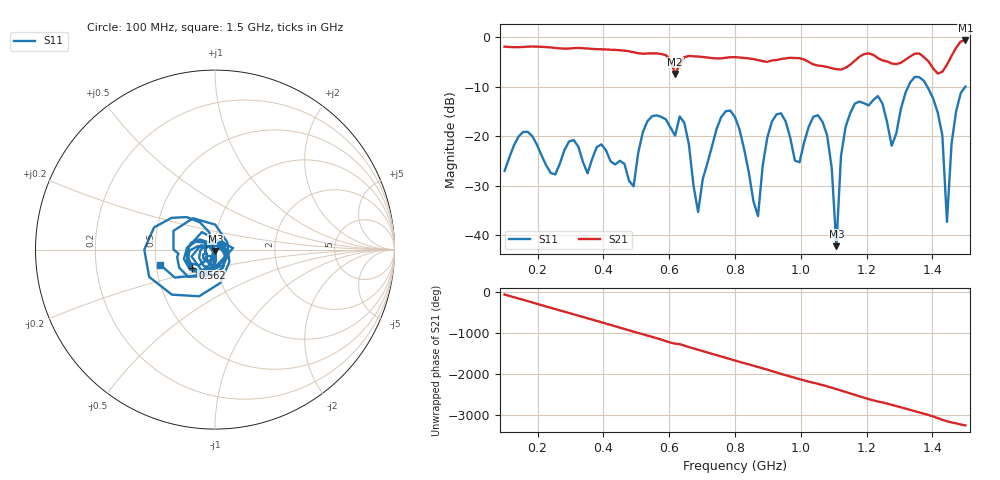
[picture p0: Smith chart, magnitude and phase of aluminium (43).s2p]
! NanoVNA-App
! Date: 2025-09-25 14:55:36
! Start: 100MHz Stop: 1,5GHz Points: 101
! S-Parameter data: F S11 S21 S12 S22
# Hz S RI R 50
!  Frequency  S11_Real  S11_Imag  S21_Real  S21_Imag  S12_Real  S12_Imag  S22_Real  S22_Imag
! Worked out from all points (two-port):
!   101 points, 100 MHz to 1.5 GHz, reference 50 ohm
!   highest |S21| = -0.67 dB at 1.5 GHz (marker M1); lowest = -7.4 dB at 618 MHz (marker M2)
!   |S21| within 3 dB of the highest: start of sweep to 590.4 MHz; 1.186 GHz to 1.222 GHz (36.59 MHz wide, 3.04 % of centre) (the widest 2 of 4)
!   lowest |S11| = -42.2 dB at 1.108 GHz (marker M3), VSWR 1.02, Z = 50.2 - j0.756 ohm
!   |S11| at or under -10 dB: start of sweep to 1.326 GHz; 1.384 GHz to 1.5 GHz (115.9 MHz wide, 8.04 % of centre)
!   S12 and S22 are empty: the file has one direction only
!   S11 on the Smith chart (normalised r, x): 100 MHz: 1.07, +0.06; 562 MHz: 0.76, -0.16; 1.5 GHz: 0.53, -0.10
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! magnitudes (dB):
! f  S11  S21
! 100 MHz  -27.0  -1.9
! 338 MHz  -25.2  -2.2
! 492 MHz  -30.1  -3.1
! 562 MHz  -15.8  -3.3
! 576 MHz  -16.1  -3.4
! 618 MHz  -19.9  -7.4
! 688 MHz  -35.3  -3.9
! 800 MHz  -16.2  -4.0
! 870 MHz  -36.1  -4.6
! 912 MHz  -17.1  -4.7
! 996 MHz  -25.3  -4.3
! 1.038 GHz  -16.1  -5.5
! 1.08 GHz  -19.9  -6.0
! 1.108 GHz  -42.2  -6.5
! 1.122 GHz  -24.0  -6.5
! 1.164 GHz  -13.4  -4.8
! 1.276 GHz  -22.0  -5.3
! 1.374 GHz  -8.8  -4.0
! 1.43 GHz  -19.8  -7.0
! 1.444 GHz  -37.3  -5.6
! 1.458 GHz  -21.5  -3.8
! 1.5 GHz  -10.0  -0.7
